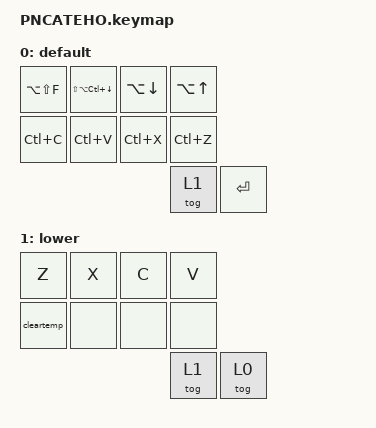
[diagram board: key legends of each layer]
/*
 * Copyright (c) 2020 The ZMK Contributors
 *
 * SPDX-License-Identifier: MIT
 */

#include <behaviors.dtsi>
#include <dt-bindings/zmk/keys.h>

&lt { quick_tap_ms = <200>; };

&mt { quick_tap_ms = <200>; };

/ {
    macros {
        rcwt: rcwt {
            compatible = "zmk,behavior-macro";
            #binding-cells = <0>;
            bindings = <&kp R &kp C &kp W &kp T>;
            label = "RCWT";
        };

        rcnt: rcnt {
            compatible = "zmk,behavior-macro";
            #binding-cells = <0>;
            bindings = <&kp R &kp C &kp N &kp T>;
            label = "RCNT";
        };

        cleartemp: cleartemp {
            compatible = "zmk,behavior-macro";
            #binding-cells = <0>;
            bindings = <&kp LG(R) &kp T &kp E &kp M &kp P &kp ENTER &kp LC(A) &kp LS(DEL) &kp LC(LS(W))>;
            label = "CLEARTEMP";
        };
    };

    keymap {
        compatible = "zmk,keymap";

        default_layer {
            label = "default";
            bindings = <
&kp LA(LS(F))  &kp LS(LA(LC(DOWN_ARROW)))  &kp LA(DOWN_ARROW)  &kp LA(UP_ARROW)
&kp LC(C)      &kp LC(V)                   &kp LC(X)           &kp LC(Z)
                                                               &tog 1            &kp ENTER
            >;
        };

        lower_layer {
            label = "lower";
            bindings = <
&kp Z       &kp X  &kp C  &kp V
&cleartemp  &none  &none  &none
                          &tog 1  &tog 0
            >;
        };
    };
};
